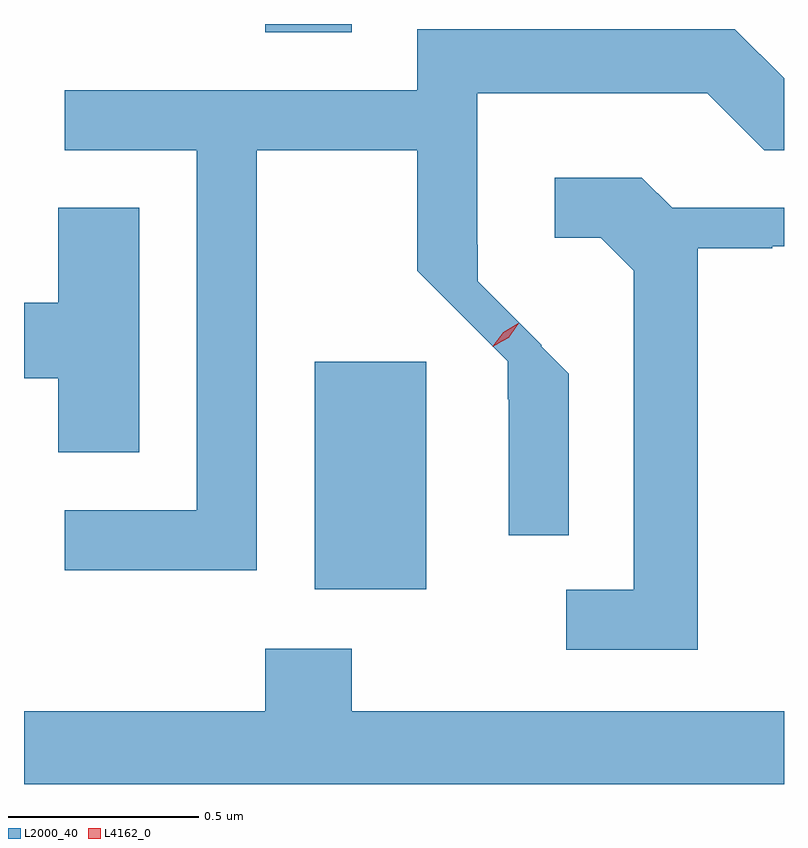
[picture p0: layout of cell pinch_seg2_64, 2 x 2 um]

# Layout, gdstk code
import gdstk
lib = gdstk.Library(unit=1e-6, precision=1e-09)
def R(c, l, rs):  # rectangles x0, y0, x1, y1
    for r in rs: c.add(gdstk.rectangle(r[:2], r[2:], *l))
def P(c, l, *ps):  # polygons
    for p in ps: c.add(gdstk.Polygon(p, *l))
L2000_40 = (2000, 40)
L4162_0 = (4162, 0)

pinch_seg2_64 = lib.new_cell('pinch_seg2_64')
R(pinch_seg2_64, L2000_40, [(1221.631,1095.526,1221.924,1096.124), (1221.501,1096.991,1221.729,1097.013)])
P(pinch_seg2_64, L2000_40, [(1221.479,1096.681),(1221.901,1096.681),(1221.901,1096.364),(1222.139,1096.126),(1222.139,1096.025),(1222.141,1096.025),(1222.141,1095.668),(1222.299,1095.668),(1222.299,1096.093),(1222.227,1096.165),(1222.229,1096.167),(1222.06,1096.336),(1222.06,1096.432),(1222.059,1096.432),(1222.059,1096.831),(1222.664,1096.831),(1222.814,1096.681),(1222.866,1096.681),(1222.866,1096.87),(1222.737,1096.999),(1221.901,1096.999),(1221.901,1096.839),(1220.973,1096.839),(1220.973,1096.681),(1221.321,1096.681),(1221.321,1095.734),(1220.973,1095.734),(1220.973,1095.576),(1221.479,1095.576)],
  [(1222.639,1096.423),(1222.835,1096.423),(1222.835,1096.428),(1222.866,1096.428),(1222.866,1096.529),(1222.572,1096.529),(1222.492,1096.609),(1222.263,1096.609),(1222.263,1096.451),(1222.384,1096.451),(1222.471,1096.364),(1222.471,1095.524),(1222.293,1095.524),(1222.293,1095.366),(1222.639,1095.366)],
  [(1221.169,1096.529),(1220.956,1096.529),(1220.956,1096.279),(1220.866,1096.279),(1220.866,1096.081),(1220.956,1096.081),(1220.956,1095.886),(1221.169,1095.886)],
  [(1222.866,1095.204),(1221.729,1095.204),(1221.729,1095.369),(1221.501,1095.369),(1221.501,1095.204),(1220.866,1095.204),(1220.866,1095.013),(1222.866,1095.013)])
P(pinch_seg2_64, L4162_0, [(1222.1,1096.164),(1222.1,1096.165),(1222.127,1096.202),(1222.167,1096.226),(1222.168,1096.226),(1222.168,1096.225),(1222.14,1096.187),(1222.1,1096.164)],
  [(1222.104,1096.168),(1222.104,1096.169),(1222.128,1096.202),(1222.163,1096.221),(1222.164,1096.221),(1222.164,1096.22),(1222.141,1096.187),(1222.105,1096.168)])

lib.write_gds('pinch_seg2_64.gds')
